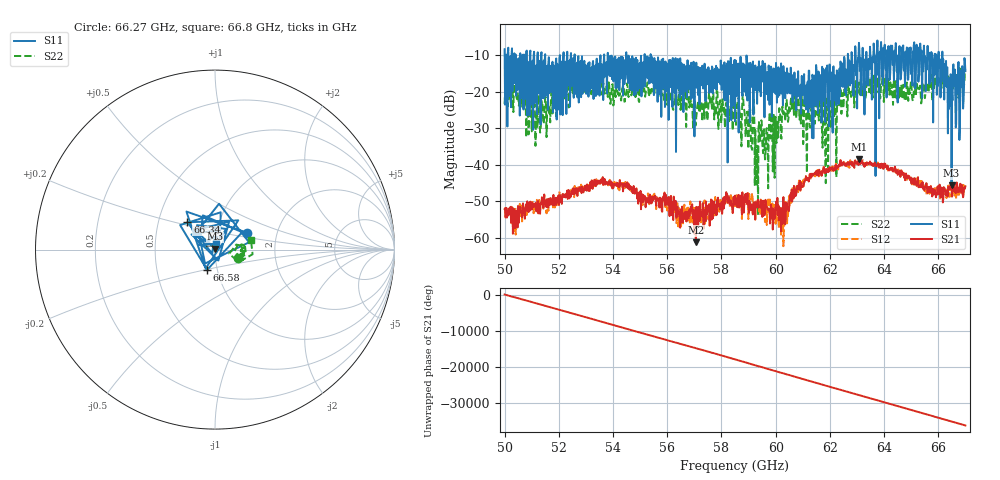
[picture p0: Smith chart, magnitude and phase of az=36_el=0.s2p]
!Created with skrf (http://scikit-rf.org).
# GHz S RI R 50.0
!freq ReS11 ImS11 ReS21 ImS21 ReS12 ImS12 ReS22 ImS22
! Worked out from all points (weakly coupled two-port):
!   1001 points, 50 GHz to 67 GHz, reference 50 ohm
!   highest |S21| = -38.41 dB at 63.07 GHz (marker M1); lowest = -61.3 dB at 57.05 GHz (marker M2)
!   lowest |S11| = -45.6 dB at 66.49 GHz (marker M3), VSWR 1.01, Z = 50 + j0.526 ohm
!   |S11| at or under -10 dB: 52.58 GHz to 53.54 GHz (951.5 MHz wide, 1.79 % of centre); 55.39 GHz to 62.66 GHz (7.274 GHz wide, 12.3 % of centre); 66.16 GHz to end of sweep (the widest 3 of 61)
!   |S22| runs from -53.8 to -13.5 dB; largest |S21 - S12| = 0.0029
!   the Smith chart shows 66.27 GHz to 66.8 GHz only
!   S11 on the Smith chart (normalised r, x): 66.27 GHz: 1.40, +0.28; 66.34 GHz: 0.70, +0.22; 66.58 GHz: 0.89, -0.20; 66.8 GHz: 1.00, +0.06
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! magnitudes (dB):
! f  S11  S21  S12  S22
! 50 GHz  -8.3  -52.1  -52.5  -23.4
! 51.38 GHz  -21.8  -48.9  -50.0  -22.5
! 52.84 GHz  -12.3  -47.8  -47.5  -19.6
! 55.68 GHz  -13.4  -49.4  -49.8  -21.2
! 57.05 GHz  -16.5  -61.3  -55.5  -29.2
! 58.5 GHz  -28.1  -48.5  -50.7  -23.0
! 59.13 GHz  -18.3  -50.9  -47.7  -35.9
! 59.32 GHz  -23.3  -50.4  -50.4  -36.2
! 59.45 GHz  -21.2  -49.7  -49.5  -30.9
! 59.64 GHz  -18.2  -50.4  -53.2  -35.8
! 60.23 GHz  -16.7  -52.1  -58.6  -25.8
! 61.34 GHz  -32.6  -42.4  -42.5  -24.6
! 61.88 GHz  -17.3  -41.2  -41.4  -23.2
! 63.07 GHz  -6.6  -38.4  -39.5  -17.5
! 64.18 GHz  -12.1  -41.2  -41.2  -17.6
! 65.56 GHz  -11.0  -45.0  -46.6  -19.3
! 66.27 GHz  -14.0  -47.0  -47.5  -17.3
! 66.34 GHz  -13.3  -48.6  -46.7  -17.9
! 66.49 GHz  -45.6  -46.6  -46.0  -15.8
! 66.58 GHz  -18.3  -45.8  -47.1  -15.4
! 66.8 GHz  -29.8  -45.5  -46.9  -13.6
! 67 GHz  -14.2  -45.9  -46.5  -14.5
